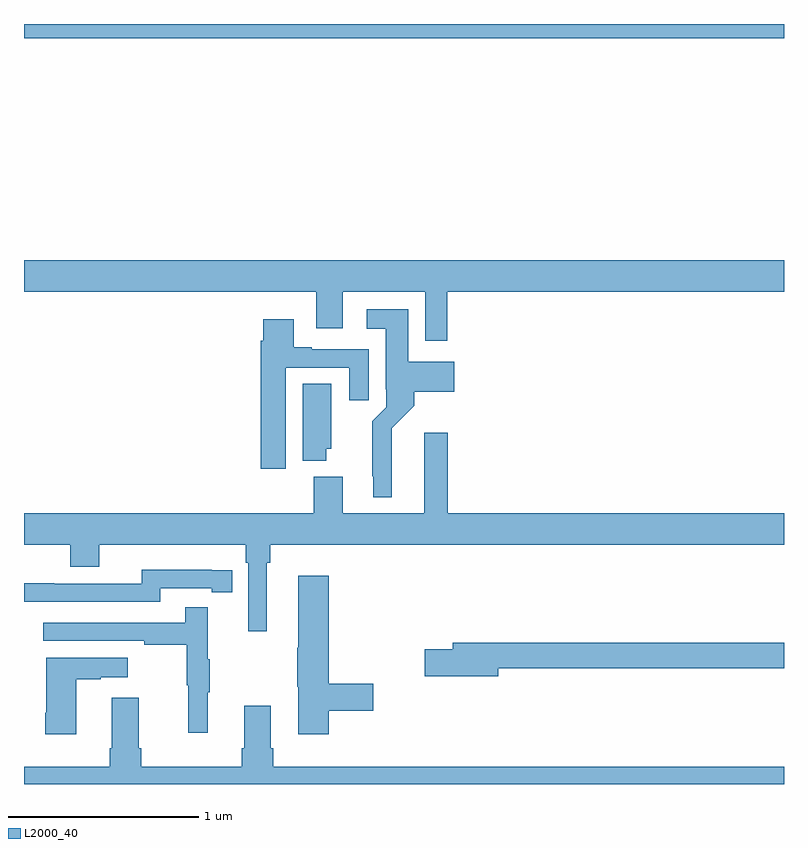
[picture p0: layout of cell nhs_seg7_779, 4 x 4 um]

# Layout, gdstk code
import gdstk
lib = gdstk.Library(unit=1e-6, precision=1e-09)
def R(c, l, rs):  # rectangles x0, y0, x1, y1
    for r in rs: c.add(gdstk.rectangle(r[:2], r[2:], *l))
def P(c, l, *ps):  # polygons
    for p in ps: c.add(gdstk.Polygon(p, *l))
L2000_40 = (2000, 40)

nhs_seg7_779 = lib.new_cell('nhs_seg7_779')
R(nhs_seg7_779, L2000_40, [(169,1025.924,173,1026)])
P(nhs_seg7_779, L2000_40, [(171.227,1024.592),(173,1024.592),(173,1024.756),(169,1024.756),(169,1024.592),(170.537,1024.592),(170.537,1024.398),(170.677,1024.398),(170.677,1024.592),(171.111,1024.592),(171.111,1024.332),(171.227,1024.332)],
  [(170.935,1023.872),(171.053,1023.99),(171.053,1024.064),(171.265,1024.064),(171.265,1024.222),(171.022,1024.222),(171.022,1024.498),(170.805,1024.498),(170.805,1024.397),(170.903,1024.397),(170.903,1024.078),(170.907,1024.078),(170.907,1023.984),(170.833,1023.91),(170.833,1023.619),(170.837,1023.619),(170.837,1023.509),(170.935,1023.509)],
  [(170.377,1024.191),(170.711,1024.191),(170.711,1024.02),(170.815,1024.02),(170.815,1024.287),(170.515,1024.287),(170.515,1024.3),(170.419,1024.3),(170.419,1024.447),(170.258,1024.447),(170.258,1024.334),(170.246,1024.334),(170.246,1023.66),(170.377,1023.66)],
  [(170.59,1023.765),(170.617,1023.765),(170.617,1024.106),(170.468,1024.106),(170.468,1023.701),(170.59,1023.701)],
  [(170.278,1023.164),(170.297,1023.164),(170.297,1023.26),(173,1023.26),(173,1023.424),(171.23,1023.424),(171.23,1023.85),(171.107,1023.85),(171.107,1023.424),(170.677,1023.424),(170.677,1023.616),(170.525,1023.616),(170.525,1023.424),(169,1023.424),(169,1023.26),(169.244,1023.26),(169.244,1023.143),(169.396,1023.143),(169.396,1023.26),(170.168,1023.26),(170.168,1023.164),(170.181,1023.164),(170.181,1022.805),(170.278,1022.805)],
  [(169.716,1023.03),(169.988,1023.03),(169.988,1023.01),(170.096,1023.01),(170.096,1023.126),(169.988,1023.126),(169.988,1023.127),(169.62,1023.127),(169.62,1023.054),(169.16,1023.054),(169.16,1023.056),(169,1023.056),(169,1022.958),(169.716,1022.958)],
  [(170.603,1022.386),(170.839,1022.386),(170.839,1022.528),(170.603,1022.528),(170.603,1023.097),(170.444,1023.097),(170.444,1022.717),(170.437,1022.717),(170.437,1022.511),(170.444,1022.511),(170.444,1022.262),(170.603,1022.262)],
  [(169.967,1022.483),(169.978,1022.483),(169.978,1022.657),(169.967,1022.657),(169.967,1022.929),(169.849,1022.929),(169.849,1022.85),(169.101,1022.85),(169.101,1022.754),(169.633,1022.754),(169.633,1022.734),(169.857,1022.734),(169.857,1022.52),(169.864,1022.52),(169.864,1022.271),(169.967,1022.271)],
  [(171.496,1022.608),(173,1022.608),(173,1022.744),(171.257,1022.744),(171.257,1022.708),(171.108,1022.708),(171.108,1022.566),(171.496,1022.566)],
  [(169.276,1022.551),(169.403,1022.551),(169.403,1022.561),(169.546,1022.561),(169.546,1022.665),(169.118,1022.665),(169.118,1022.374),(169.111,1022.374),(169.111,1022.262),(169.276,1022.262)],
  [(173,1022.092),(170.312,1022.092),(170.312,1022.188),(170.299,1022.188),(170.299,1022.413),(170.159,1022.413),(170.159,1022.188),(170.147,1022.188),(170.147,1022.092),(169.616,1022.092),(169.616,1022.188),(169.603,1022.188),(169.603,1022.455),(169.463,1022.455),(169.463,1022.188),(169.451,1022.188),(169.451,1022.092),(169,1022.092),(169,1022),(173,1022)])

lib.write_gds('nhs_seg7_779.gds')
